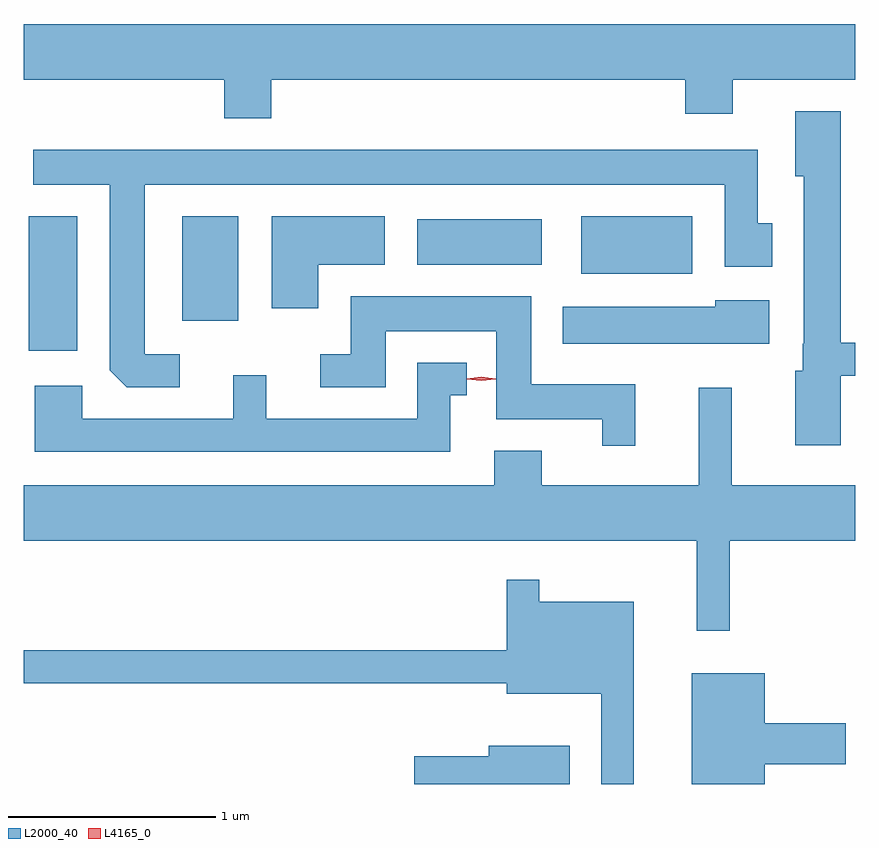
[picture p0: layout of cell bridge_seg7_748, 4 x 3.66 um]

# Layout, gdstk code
import gdstk
lib = gdstk.Library(unit=1e-6, precision=1e-09)
def R(c, l, rs):  # rectangles x0, y0, x1, y1
    for r in rs: c.add(gdstk.rectangle(r[:2], r[2:], *l))
def P(c, l, *ps):  # polygons
    for p in ps: c.add(gdstk.Polygon(p, *l))
L2000_40 = (2000, 40)
L4165_0 = (4165, 0)

bridge_seg7_748 = lib.new_cell('bridge_seg7_748')
R(bridge_seg7_748, L2000_40, [(416.201,1750.751,416.434,1751.399), (416.941,1750.896,417.209,1751.399), (418.861,1751.121,419.394,1751.399), (418.071,1751.166,418.669,1751.384)])
P(bridge_seg7_748, L2000_40, [(417.369,1752.056),(419.361,1752.056),(419.361,1751.891),(419.589,1751.891),(419.589,1752.056),(420.178,1752.056),(420.178,1752.324),(416.178,1752.324),(416.178,1752.056),(417.141,1752.056),(417.141,1751.871),(417.369,1751.871)],
  [(420.109,1750.631),(420.178,1750.631),(420.178,1750.789),(420.109,1750.789),(420.109,1751.904),(419.891,1751.904),(419.891,1751.591),(419.931,1751.591),(419.931,1750.785),(419.926,1750.785),(419.926,1750.654),(419.891,1750.654),(419.891,1750.296),(420.109,1750.296)],
  [(416.928,1750.734),(416.759,1750.734),(416.759,1751.551),(419.551,1751.551),(419.551,1751.156),(419.779,1751.156),(419.779,1751.364),(419.709,1751.364),(419.709,1751.719),(416.223,1751.719),(416.223,1751.551),(416.591,1751.551),(416.591,1750.657),(416.672,1750.576),(416.928,1750.576)],
  [(417.594,1751.166),(417.914,1751.166),(417.914,1751.399),(417.371,1751.399),(417.371,1750.956),(417.594,1750.956)],
  [(419.119,1750.589),(418.619,1750.589),(418.619,1751.014),(417.751,1751.014),(417.751,1750.734),(417.603,1750.734),(417.603,1750.576),(417.919,1750.576),(417.919,1750.846),(418.451,1750.846),(418.451,1750.421),(418.961,1750.421),(418.961,1750.293),(419.119,1750.293)],
  [(419.764,1750.994),(419.506,1750.994),(419.506,1750.964),(418.771,1750.964),(418.771,1750.786),(419.764,1750.786)],
  [(418.229,1750.536),(418.308,1750.536),(418.308,1750.694),(418.071,1750.694),(418.071,1750.424),(417.344,1750.424),(417.344,1750.633),(417.186,1750.633),(417.186,1750.424),(416.459,1750.424),(416.459,1750.584),(416.231,1750.584),(416.231,1750.266),(418.229,1750.266)],
  [(419.574,1749.836),(420.178,1749.836),(420.178,1750.104),(419.584,1750.104),(419.584,1750.573),(419.426,1750.573),(419.426,1750.104),(418.669,1750.104),(418.669,1750.269),(418.441,1750.269),(418.441,1750.104),(416.178,1750.104),(416.178,1749.836),(419.416,1749.836),(419.416,1749.403),(419.574,1749.403)],
  [(419.114,1749.544),(418.659,1749.544),(418.659,1749.648),(418.501,1749.648),(418.501,1749.309),(416.178,1749.309),(416.178,1749.151),(418.501,1749.151),(418.501,1749.101),(418.956,1749.101),(418.956,1748.666),(419.114,1748.666)],
  [(419.744,1748.761),(420.134,1748.761),(420.134,1748.959),(419.744,1748.959),(419.744,1749.199),(419.391,1749.199),(419.391,1748.666),(419.744,1748.666)],
  [(418.804,1748.849),(418.416,1748.849),(418.416,1748.799),(418.056,1748.799),(418.056,1748.666),(418.804,1748.666)])
P(bridge_seg7_748, L4165_0, [(418.378,1750.606),(418.309,1750.614),(418.309,1750.615),(418.309,1750.616),(418.378,1750.625),(418.448,1750.616),(418.448,1750.616),(418.448,1750.615)])

lib.write_gds('bridge_seg7_748.gds')
